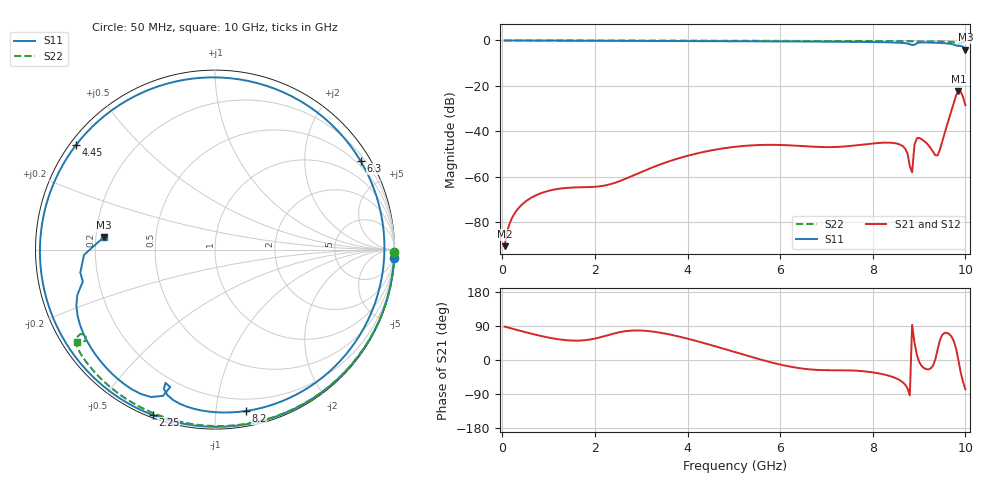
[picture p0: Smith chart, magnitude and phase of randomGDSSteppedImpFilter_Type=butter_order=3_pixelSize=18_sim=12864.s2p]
! freq	dB(S11)	phase(S11)	dB(S12)	phase(S12)
!  dB(S21)	phase(S21)	dB(S22)	phase(S22)
!S-par simulation data
#  GHz  S  DB  R 50
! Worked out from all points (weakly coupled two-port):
!   200 points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, 50 MHz to 10 GHz, reference 50 ohm
!   highest |S21| = -22.17 dB at 9.85 GHz (marker M1); lowest = -90.5 dB at 50 MHz (marker M2)
!   lowest |S11| = -4.1 dB at 10 GHz (marker M3), VSWR 4.32, Z = 11.6 + j2.63 ohm
!   |S11| at or under -10 dB: nowhere
!   |S22| runs from -1.3 to 0.0 dB; largest |S21 - S12| = 0
!   S11 on the Smith chart (normalised r, x): 50 MHz: 1, -44; 2.25 GHz: 0.01, -0.69; 4.45 GHz: 0.02, +0.33; 6.3 GHz: 0.35, +3.54; 8.2 GHz: 0.11, -1.20; 10 GHz: 0.23, +0.05
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0.05  -0.01 -2.6  -90.48 88.2  -90.48 88.2  -0.00 -0.9
0.15  -0.01 -7.7  -80.96 84.8  -80.96 84.8  -0.00 -2.6
0.75  -0.04 -38.3  -67.89 65.8  -67.89 65.8  -0.01 -12.9
1.75  -0.11 -87.2  -64.56 51.8  -64.56 51.8  -0.04 -29.7
2.25  -0.13 -110.7  -63.65 64.6  -63.65 64.6  -0.05 -38.0
3.4  -0.19 -164.3  -54.60 72.3  -54.60 72.3  -0.07 -56.4
3.95  -0.23 168.9  -51.01 57.9  -51.01 57.9  -0.09 -64.9
4.45  -0.27 143.0  -48.60 41.4  -48.60 41.4  -0.10 -72.5
5.05  -0.33 109.3  -46.72 19.9  -46.72 19.9  -0.13 -81.4
5.65  -0.39 72.8  -45.93 -1.2  -45.93 -1.2  -0.15 -90.1
6.3  -0.45 31.3  -46.23 -19.3  -46.23 -19.3  -0.18 -99.2
6.7  -0.49 6.0  -46.71 -25.4  -46.71 -25.4  -0.20 -104.7
7.5  -0.60 -41.6  -46.44 -27.5  -46.44 -27.5  -0.26 -115.6
8.2  -0.77 -79.2  -45.00 -37.1  -45.00 -37.1  -0.31 -125.0
8.35  -0.83 -87.0  -44.95 -41.7  -44.95 -41.7  -0.33 -127.0
8.7  -1.21 -105.5  -47.59 -65.1  -47.59 -65.1  -0.36 -131.7
8.85  -2.02 -110.3  -58.01 92.9  -58.01 92.9  -0.37 -133.7
8.9  -1.88 -108.1  -45.95 46.7  -45.95 46.7  -0.38 -134.4
8.95  -1.26 -109.6  -43.06 14.6  -43.06 14.6  -0.39 -135.1
9.4  -1.04 -138.4  -50.54 27.7  -50.54 27.7  -0.46 -141.5
9.85  -2.41 -166.4  -22.17 -1.0  -22.17 -1.0  -1.26 -146.4
10  -4.10 173.6  -28.51 -77.2  -28.51 -77.2  -0.69 -146.2
